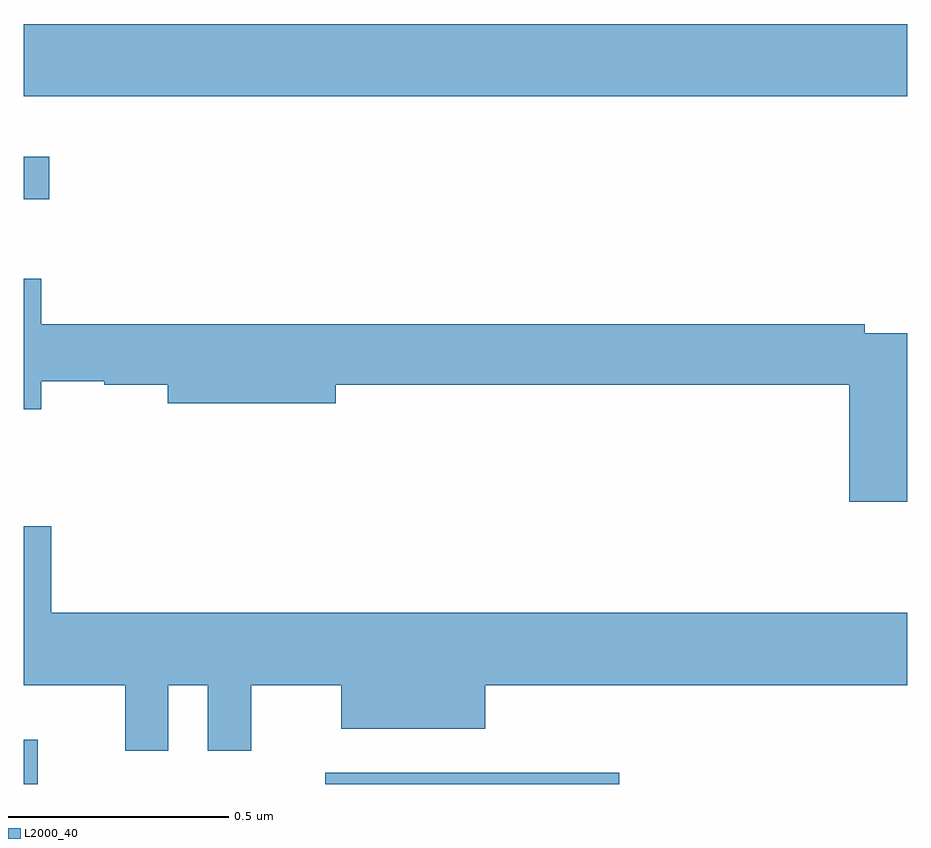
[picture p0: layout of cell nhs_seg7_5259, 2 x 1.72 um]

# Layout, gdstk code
import gdstk
lib = gdstk.Library(unit=1e-6, precision=1e-09)
def R(c, l, rs):  # rectangles x0, y0, x1, y1
    for r in rs: c.add(gdstk.rectangle(r[:2], r[2:], *l))
def P(c, l, *ps):  # polygons
    for p in ps: c.add(gdstk.Polygon(p, *l))
L2000_40 = (2000, 40)

nhs_seg7_5259 = lib.new_cell('nhs_seg7_5259')
R(nhs_seg7_5259, L2000_40, [(183,1059,183.032,1059.1), (183.683,1059,184.348,1059.025), (183,1060.323,183.058,1060.42), (183,1060.556,185,1060.72)])
P(nhs_seg7_5259, L2000_40, [(185,1060.02),(184.904,1060.02),(184.904,1060.04),(183.04,1060.04),(183.04,1060.144),(183,1060.144),(183,1059.848),(183.04,1059.848),(183.04,1059.912),(183.183,1059.912),(183.183,1059.904),(183.326,1059.904),(183.326,1059.862),(183.706,1059.862),(183.706,1059.904),(184.868,1059.904),(184.868,1059.639),(185,1059.639)],
  [(183.062,1059.583),(183,1059.583),(183,1059.224),(183.23,1059.224),(183.23,1059.075),(183.327,1059.075),(183.327,1059.224),(183.417,1059.224),(183.417,1059.075),(183.515,1059.075),(183.515,1059.224),(183.719,1059.224),(183.719,1059.125),(184.045,1059.125),(184.045,1059.224),(185,1059.224),(185,1059.388),(183.062,1059.388)])

lib.write_gds('nhs_seg7_5259.gds')
